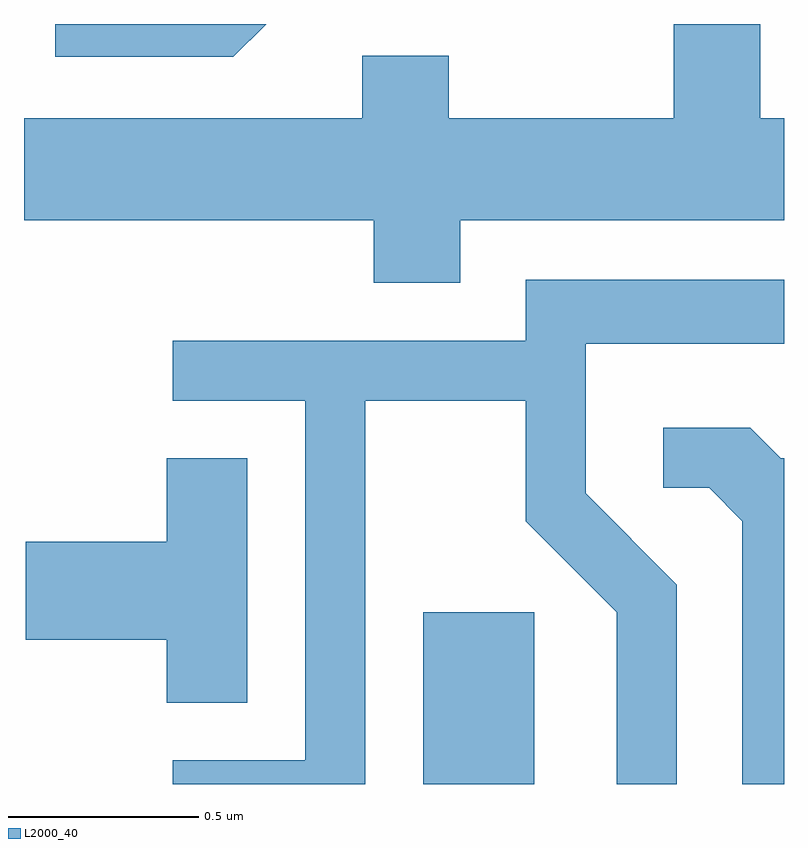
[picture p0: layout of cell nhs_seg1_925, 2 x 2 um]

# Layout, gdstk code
import gdstk
lib = gdstk.Library(unit=1e-6, precision=1e-09)
def R(c, l, rs):  # rectangles x0, y0, x1, y1
    for r in rs: c.add(gdstk.rectangle(r[:2], r[2:], *l))
def P(c, l, *ps):  # polygons
    for p in ps: c.add(gdstk.Polygon(p, *l))
L2000_40 = (2000, 40)

nhs_seg1_925 = lib.new_cell('nhs_seg1_925')
R(nhs_seg1_925, L2000_40, [(192.661,944.712,192.954,945.164)])
P(nhs_seg1_925, L2000_40, [(192.759,946.196),(193.611,946.196),(193.611,946.464),(193.549,946.464),(193.549,946.712),(193.321,946.712),(193.321,946.464),(192.729,946.464),(192.729,946.629),(192.501,946.629),(192.501,946.464),(191.611,946.464),(191.611,946.196),(192.531,946.196),(192.531,946.031),(192.759,946.031)],
  [(192.248,946.712),(191.693,946.712),(191.693,946.626),(192.162,946.626)],
  [(192.509,945.721),(192.931,945.721),(192.931,945.404),(193.171,945.164),(193.171,944.712),(193.329,944.712),(193.329,945.237),(193.089,945.477),(193.089,945.871),(193.611,945.871),(193.611,946.039),(192.931,946.039),(192.931,945.879),(192.003,945.879),(192.003,945.721),(192.351,945.721),(192.351,944.774),(192.003,944.774),(192.003,944.712),(192.509,944.712)],
  [(193.611,945.569),(193.602,945.569),(193.522,945.649),(193.293,945.649),(193.293,945.491),(193.414,945.491),(193.501,945.404),(193.501,944.712),(193.611,944.712)],
  [(192.199,945.569),(191.986,945.569),(191.986,945.349),(191.616,945.349),(191.616,945.091),(191.986,945.091),(191.986,944.926),(192.199,944.926)])

lib.write_gds('nhs_seg1_925.gds')
